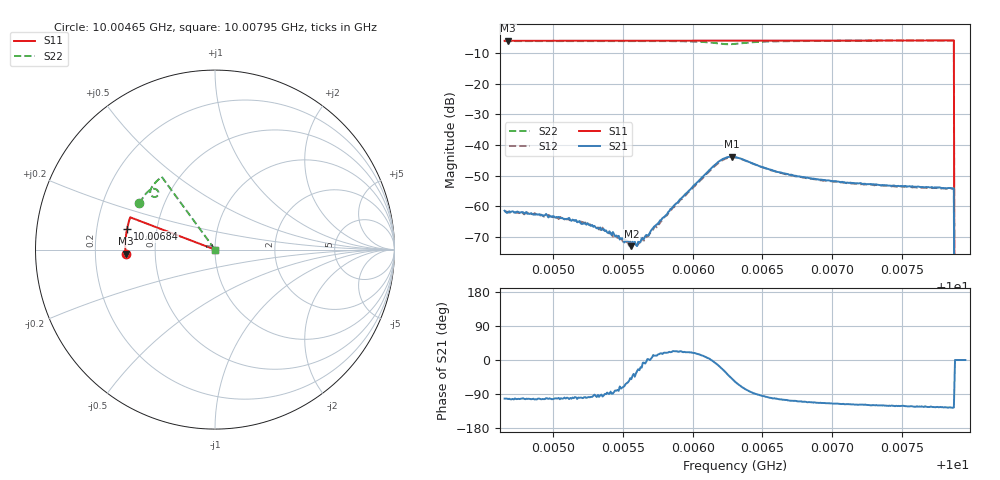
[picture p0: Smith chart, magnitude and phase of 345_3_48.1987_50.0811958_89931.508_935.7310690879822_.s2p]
#  HZ  S  RI  R  50.00
! Rohde & Schwarz Vector Network Analyzer
! Rohde-Schwarz,ZNB20-2Port,1311601062101988,3.16
! Created: UTC 3/20/2024, 11:51:34 AM
! freq[Hz]  re:S11  im:S11  re:S21  im:S21  re:S12  im:S12  re:S22  im:S22
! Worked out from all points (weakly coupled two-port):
!   401 points, 10.00465 GHz to 10.00795 GHz, reference 50 ohm
!   highest |S21| = -43.82 dB at 10.00628 GHz (marker M1); lowest = -73.0 dB at 10.00556 GHz (marker M2)
!   lowest |S11| = -6.0 dB at 10.00468 GHz (marker M3), VSWR 2.99, Z = 16.7 - j1.02 ohm
!   |S11| at or under -10 dB: 10.00787 GHz to end of sweep
!   |S22| runs from - to -6.0 dB; largest |S21 - S12| = 0.00055
!   S11 on the Smith chart (normalised r, x): 10.00465 GHz: 0.33, -0.02; 10.00684 GHz: 0.33, +0.10; 10.00795 GHz: 1.00, +0.00
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1.0004654e10  -0.4984 -0.0246  -0.000174 -0.000826  -0.000128 -0.000817  -0.4208 0.2572
1.0004679e10  -0.4983 -0.023  -0.000177 -0.000767  -0.000131 -0.000802  -0.4201 0.2588
1.0004943e10  -0.4993 -0.00584  -0.000161 -0.000691  -9.42e-05 -0.00068  -0.411 0.2745
1.0005108e10  -0.4999 0.00487  -0.000111 -0.000616  -8.94e-05 -0.000607  -0.405 0.2843
1.0005207e10  -0.5 0.0112  -8.74e-05 -0.000505  -5.42e-05 -0.000548  -0.4009 0.29
1.0005347e10  -0.4999 0.0203  -9.08e-06 -0.000409  1.63e-05 -0.000393  -0.3952 0.2986
1.0005561e10  -0.4994 0.0343  0.000141 -0.000172  0.000164 -0.000179  -0.3851 0.3115
1.0005611e10  -0.4994 0.0376  0.000242 -0.000109  0.000216 -0.000105  -0.3824 0.3147
1.0005668e10  -0.4992 0.0412  0.000338 -2.68e-05  0.000314 -1.59e-05  -0.379 0.3183
1.0005759e10  -0.499 0.0472  0.00053 0.000145  0.000485 0.000141  -0.3733 0.3242
1.000585e10  -0.4985 0.0531  0.000854 0.000333  0.000805 0.000368  -0.3662 0.3297
1.0006155e10  -0.4963 0.0727  0.00461 -0.000455  0.00443 -0.000145  -0.3207 0.3302
1.0006221e10  -0.4957 0.0766  0.00529 -0.00269  0.00529 -0.00221  -0.3149 0.311
1.0006279e10  -0.4952 0.0801  0.00426 -0.00483  0.00453 -0.00436  -0.3262 0.2952
1.0006303e10  -0.4951 0.0815  0.0034 -0.00531  0.00377 -0.00495  -0.334 0.2928
1.0006592e10  -0.4927 0.1002  -0.000755 -0.00366  -0.000553 -0.00363  -0.3595 0.3312
1.0006839e10  -0.4899 0.1159  -0.00103 -0.00267  -0.000922 -0.00266  -0.3489 0.3528
1.0006856e10  -0.4897 0.1169  -0.00104 -0.0026  -0.000919 -0.00265  -0.3481 0.354
1.0007408e10  -0.4813 0.1515  -0.0011 -0.00187  -0.000999 -0.00188  -0.3208 0.3852
1.0007854e10  -0.4726 0.1788  -0.00114 -0.0016  -0.00106 -0.00162  -0.2984 0.4055
1.0007895e10  0 0  0 0  0 0  0 0
1.0007953e10  0 0  0 0  0 0  0 0
